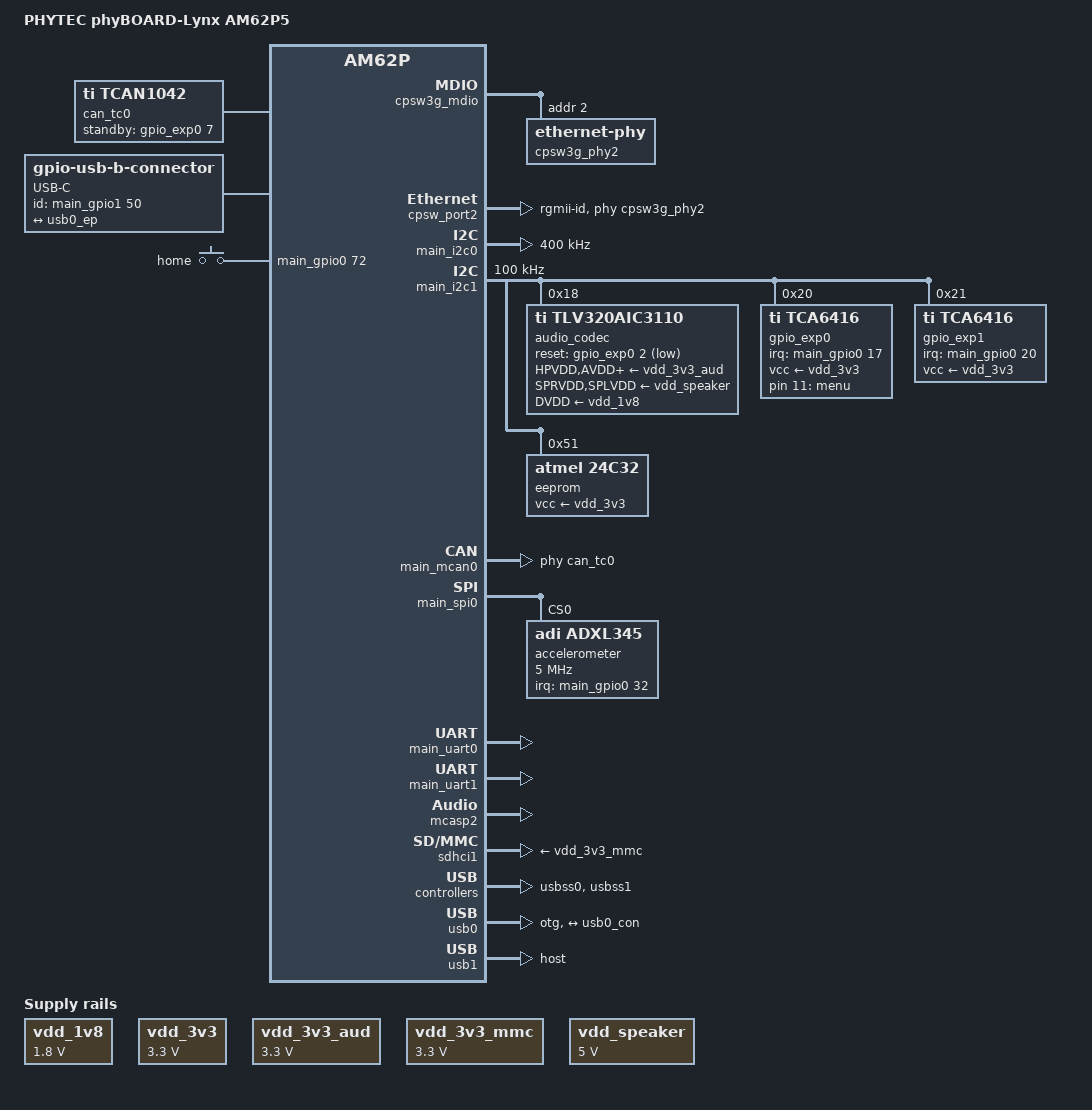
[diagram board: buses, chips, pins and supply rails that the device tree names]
// SPDX-License-Identifier: GPL-2.0-only OR MIT
/*
 * Copyright (C) 2026 PHYTEC America LLC
 * Author: John Ma <jma@phytec.com>
 *
 */

#include <dt-bindings/gpio/gpio.h>
#include <dt-bindings/input/input.h>
#include <dt-bindings/net/ti-dp83867.h>
#include "k3-am62p5.dtsi"
#include "k3-am62p-phycore-som.dtsi"

/ {
	compatible = "phytec,am62p5-phyboard-lynx",
		     "phytec,am62p-phycore-som", "ti,am62p5";
	model = "PHYTEC phyBOARD-Lynx AM62P5";

	aliases {
		ethernet1 = &cpsw_port2;
		mmc1 = &sdhci1;
		serial2 = &main_uart0;
		serial3 = &main_uart1;
		spi1 = &main_spi0;
		usb0 = &usb0;
		usb1 = &usb1;
	};

	chosen {
		stdout-path = &main_uart0;
	};

	can_tc0: can-phy0 {
		compatible = "ti,tcan1042";
		#phy-cells = <0>;
		max-bitrate = <8000000>;
		standby-gpios = <&gpio_exp0 7 GPIO_ACTIVE_HIGH>;
	};

	usb0_connector: connector {
		compatible = "gpio-usb-b-connector", "usb-b-connector";
		label = "USB-C";
		data-role = "dual";

		pinctrl-names = "default";
		pinctrl-0 = <&main_usbc_power_pins_default>;

		id-gpios = <&main_gpio1 50 GPIO_ACTIVE_HIGH>;

		port {
			usb0_con: endpoint {
				remote-endpoint = <&usb0_ep>;
			};
		};
	};

	keys {
		compatible = "gpio-keys";
		autorepeat;
		pinctrl-names = "default";
		pinctrl-0 = <&gpio_keys_pins_default>;

		key-home {
			label = "home";
			linux,code = <KEY_HOME>;
			gpios = <&main_gpio0 72 GPIO_ACTIVE_HIGH>;
		};

		key-menu {
			label = "menu";
			linux,code = <KEY_MENU>;
			gpios = <&gpio_exp0 11 GPIO_ACTIVE_HIGH>;
		};
	};

	sound {
		compatible = "simple-audio-card";
		simple-audio-card,name = "phyBOARD-Lynx";
		simple-audio-card,format = "dsp_b";
		simple-audio-card,bitclock-master = <&sound_master>;
		simple-audio-card,frame-master = <&sound_master>;
		simple-audio-card,bitclock-inversion;
		simple-audio-card,widgets =
			"Microphone", "Mic Jack",
			"Headphone", "Headphone Jack",
			"Line", "Stereo Jack",
			"Speaker", "L SPKR",
			"Speaker", "R SPKR";
		simple-audio-card,routing =
			"MIC1RP", "Mic Jack",
			"Mic Jack", "MICBIAS",
			"Headphone Jack", "HPL",
			"Headphone Jack", "HPR",
			"MIC1LM", "Stereo Jack",
			"MIC1LP", "Stereo Jack",
			"L SPKR", "SPL",
			"R SPKR", "SPR";
		simple-audio-card,cpu {
			sound-dai = <&mcasp2>;
		};

		sound_master: simple-audio-card,codec {
			sound-dai = <&audio_codec>;
			clocks = <&audio_refclk1>;
		};
	};

	vdd_1v8: regulator-vdd-1v8 {
		compatible = "regulator-fixed";
		regulator-name = "VDD_1V8";
		regulator-min-microvolt = <1800000>;
		regulator-max-microvolt = <1800000>;
		regulator-always-on;
		regulator-boot-on;
	};

	vdd_3v3: regulator-vdd-3v3 {
		compatible = "regulator-fixed";
		regulator-name = "VDD_3V3";
		regulator-min-microvolt = <3300000>;
		regulator-max-microvolt = <3300000>;
		regulator-always-on;
		regulator-boot-on;
	};

	vdd_3v3_aud: regulator-vdd-3v3-aud {
		compatible = "regulator-fixed";
		regulator-name = "VDD_3V3_AUD";
		regulator-min-microvolt = <3300000>;
		regulator-max-microvolt = <3300000>;
		regulator-always-on;
		regulator-boot-on;
	};

	vdd_3v3_mmc: regulator-vdd-3v3-mmc {
		compatible = "regulator-fixed";
		regulator-name = "VDD_3V3_MMC";
		regulator-min-microvolt = <3300000>;
		regulator-max-microvolt = <3300000>;
		regulator-always-on;
		regulator-boot-on;
	};

	vdd_speaker: regulator-vdd-speaker {
		compatible = "regulator-fixed";
		regulator-name = "VDD_SPEAKER";
		regulator-min-microvolt = <5000000>;
		regulator-max-microvolt = <5000000>;
		regulator-always-on;
		regulator-boot-on;
	};
};

&main_pmx0 {
	accel_irq_pins_default: accel-irq-default-pins {
		pinctrl-single,pins = <
			AM62PX_IOPAD(0x0084, PIN_INPUT, 7) /* (R25) GPMC0_ADVn_ALE.GPIO0_32 */
			AM62PX_IOPAD(0x0094, PIN_INPUT, 7) /* (T24) GPMC0_BE1n.GPIO0_36 */
		>;
	};

	audio_ext_refclk1_pins_default: audio-ext-refclk1-default-pins {
		pinctrl-single,pins = <
			AM62PX_IOPAD(0x00a0, PIN_OUTPUT, 1) /* (P24) GPMC0_WPn.AUDIO_EXT_REFCLK1 */
		>;
	};

	gpio_exp0_int_pins_default: gpio-exp0-int-default-pins {
		pinctrl-single,pins = <
			AM62PX_IOPAD(0x0044, PIN_INPUT, 7) /* (U20) GPMC0_AD2.GPIO0_17 */
		>;
	};

	gpio_exp1_int_pins_default: gpio-exp1-int-default-pins {
		pinctrl-single,pins = <
			AM62PX_IOPAD(0x0050, PIN_INPUT, 7) /* (T21) GPMC0_AD5.GPIO0_20 */
		>;
	};

	gpio_keys_pins_default: gpio-keys-default-pins {
		pinctrl-single,pins = <
			AM62PX_IOPAD(0x0128, PIN_INPUT, 7) /* (K25) MMC2_SDWP.GPIO0_72 */
		>;
	};

	main_i2c0_pins_default: main-i2c0-default-pins {
		pinctrl-single,pins = <
			AM62PX_IOPAD(0x01e0, PIN_INPUT_PULLUP, 0) /* (B25) I2C0_SCL */
			AM62PX_IOPAD(0x01e4, PIN_INPUT_PULLUP, 0) /* (A24) I2C0_SDA */
		>;
	};

	main_i2c1_pins_default: main-i2c1-default-pins {
		pinctrl-single,pins = <
			AM62PX_IOPAD(0x01e8, PIN_INPUT_PULLUP, 0) /* (C24) I2C1_SCL */
			AM62PX_IOPAD(0x01ec, PIN_INPUT_PULLUP, 0) /* (B24) I2C1_SDA */
		>;
		bootph-all;
	};

	main_mcan0_pins_default: main-mcan0-default-pins {
		pinctrl-single,pins = <
			AM62PX_IOPAD(0x01dc, PIN_INPUT, 0) /* (F20) MCAN0_RX */
			AM62PX_IOPAD(0x01d8, PIN_OUTPUT, 0) /* (B23) MCAN0_TX */
		>;
	};

	main_mcasp2_pins_default: main-mcasp2-default-pins {
		pinctrl-single,pins = <
			AM62PX_IOPAD(0x0070, PIN_INPUT, 3) /* (AD25) GPMC0_AD13.MCASP2_ACLKX */
			AM62PX_IOPAD(0x006c, PIN_INPUT, 3) /* (Y24) GPMC0_AD12.MCASP2_AFSX */
			AM62PX_IOPAD(0x0064, PIN_OUTPUT, 3) /* (AA25) GPMC0_AD10.MCASP2_AXR2 */
			AM62PX_IOPAD(0x0068, PIN_INPUT, 3) /* (W24) GPMC0_AD11.MCASP2_AXR3 */
		>;
	};

	main_mmc1_pins_default: main-mmc1-default-pins {
		pinctrl-single,pins = <
			AM62PX_IOPAD(0x023c, PIN_INPUT_PULLUP, 0) /* (H20) MMC1_CMD */
			AM62PX_IOPAD(0x0234, PIN_OUTPUT, 0) /* (J24) MMC1_CLK */
			AM62PX_IOPAD(0x0230, PIN_INPUT_PULLUP, 0) /* (H21) MMC1_DAT0 */
			AM62PX_IOPAD(0x022c, PIN_INPUT_PULLUP, 0) /* (H23) MMC1_DAT1 */
			AM62PX_IOPAD(0x0228, PIN_INPUT_PULLUP, 0) /* (H22) MMC1_DAT2 */
			AM62PX_IOPAD(0x0224, PIN_INPUT_PULLUP, 0) /* (H25) MMC1_DAT3 */
			AM62PX_IOPAD(0x0240, PIN_INPUT_PULLUP, 0) /* (D23) MMC1_SDCD */
		>;
		bootph-all;
	};

	main_rgmii2_pins_default: main-rgmii2-default-pins {
		pinctrl-single,pins = <
			AM62PX_IOPAD(0x0184, PIN_INPUT, 0) /* (E19) RGMII2_RD0 */
			AM62PX_IOPAD(0x0188, PIN_INPUT, 0) /* (E16) RGMII2_RD1 */
			AM62PX_IOPAD(0x018c, PIN_INPUT, 0) /* (E17) RGMII2_RD2 */
			AM62PX_IOPAD(0x0190, PIN_INPUT, 0) /* (C19) RGMII2_RD3 */
			AM62PX_IOPAD(0x0180, PIN_INPUT, 0) /* (D19) RGMII2_RXC */
			AM62PX_IOPAD(0x017c, PIN_INPUT, 0) /* (F19) RGMII2_RX_CTL */
			AM62PX_IOPAD(0x016c, PIN_INPUT, 0) /* (B19) RGMII2_TD0 */
			AM62PX_IOPAD(0x0170, PIN_INPUT, 0) /* (A21) RGMII2_TD1 */
			AM62PX_IOPAD(0x0174, PIN_INPUT, 0) /* (D17) RGMII2_TD2 */
			AM62PX_IOPAD(0x0178, PIN_INPUT, 0) /* (A19) RGMII2_TD3 */
			AM62PX_IOPAD(0x0168, PIN_INPUT, 0) /* (D16) RGMII2_TXC */
			AM62PX_IOPAD(0x0164, PIN_INPUT, 0) /* (A20) RGMII2_TX_CTL */
		>;
	};

	main_spi0_pins_default: main-spi0-default-pins {
		pinctrl-single,pins = <
			AM62PX_IOPAD(0x01bc, PIN_INPUT, 0) /* (B21) SPI0_CLK */
			AM62PX_IOPAD(0x01b4, PIN_OUTPUT, 0) /* (D20) SPI0_CS0 */
			AM62PX_IOPAD(0x01c0, PIN_OUTPUT, 0) /* (B20) SPI0_D0 */
			AM62PX_IOPAD(0x01c4, PIN_INPUT, 0) /* (C21) SPI0_D1 */
		>;
	};

	main_uart0_pins_default: main-uart0-default-pins {
		pinctrl-single,pins = <
			AM62PX_IOPAD(0x01d0, PIN_INPUT, 0) /* (A23) UART0_CTSn */
			AM62PX_IOPAD(0x01d4, PIN_OUTPUT, 0) /* (C22) UART0_RTSn */
			AM62PX_IOPAD(0x01c8, PIN_INPUT, 0) /* (A22) UART0_RXD */
			AM62PX_IOPAD(0x01cc, PIN_OUTPUT, 0) /* (B22) UART0_TXD */
		>;
		bootph-all;
	};

	main_uart1_pins_default: main-uart1-default-pins {
		pinctrl-single,pins = <
			AM62PX_IOPAD(0x01ac, PIN_INPUT, 2) /* (G23) MCASP0_AFSR.UART1_RXD */
			AM62PX_IOPAD(0x01b0, PIN_OUTPUT, 2) /* (G20) MCASP0_ACLKR.UART1_TXD */
		>;
		bootph-all;
	};

	main_usb1_pins_default: main-usb1-default-pins {
		pinctrl-single,pins = <
			AM62PX_IOPAD(0x0258, PIN_OUTPUT, 0) /* (G21) USB1_DRVVBUS */
		>;
	};

	main_usbc_power_pins_default: main-usbc-power-default-pins {
		pinctrl-single,pins = <
			AM62PX_IOPAD(0x0254, PIN_INPUT, 7) /* (G22) USB0_DRVVBUS.GPIO1_50 */
		>;
	};
};

&audio_refclk1 {
	assigned-clock-rates = <25000000>;
};

&cpsw3g {
	pinctrl-names = "default";
	pinctrl-0 = <&main_rgmii1_pins_default>, <&main_rgmii2_pins_default>;
};

&cpsw3g_mdio {
	cpsw3g_phy2: ethernet-phy@2 {
		reg = <2>;
		tx-fifo-depth = <DP83867_PHYCR_FIFO_DEPTH_4_B_NIB>;
		ti,min-output-impedance;
		ti,rx-internal-delay = <DP83867_RGMIIDCTL_2_00_NS>;
	};
};

&cpsw_port2 {
	phy-mode = "rgmii-id";
	phy-handle = <&cpsw3g_phy2>;
	status = "okay";
};

&main_i2c0 {
	pinctrl-names = "default";
	pinctrl-0 = <&main_i2c0_pins_default>;
	clock-frequency = <400000>;
	status = "okay";
};

&main_i2c1 {
	pinctrl-names = "default";
	pinctrl-0 = <&main_i2c1_pins_default>;
	clock-frequency = <100000>;
	status = "okay";

	audio_codec: audio-codec@18 {
		compatible = "ti,tlv320aic3110";
		reg = <0x18>;
		pinctrl-names = "default";
		pinctrl-0 = <&audio_ext_refclk1_pins_default>;
		reset-gpios = <&gpio_exp0 2 GPIO_ACTIVE_LOW>;
		#sound-dai-cells = <0>;
		ai31xx-micbias-vg = <2>;

		HPVDD-supply = <&vdd_3v3_aud>;
		SPRVDD-supply = <&vdd_speaker>;
		SPLVDD-supply = <&vdd_speaker>;
		AVDD-supply = <&vdd_3v3_aud>;
		IOVDD-supply = <&vdd_3v3_aud>;
		DVDD-supply = <&vdd_1v8>;
	};

	gpio_exp0: gpio@20 {
		pinctrl-names = "default";
		pinctrl-0 = <&gpio_exp0_int_pins_default>;
		compatible = "ti,tca6416";
		reg = <0x20>;
		vcc-supply = <&vdd_3v3>;
		interrupt-parent = <&main_gpio0>;
		interrupts = <17 IRQ_TYPE_EDGE_FALLING>;
		#gpio-cells = <2>;
		gpio-controller;
		interrupt-controller;
		#interrupt-cells = <2>;
		gpio-line-names = "HDMI_RESETn", "ETH1_RESETn",
				   "AUDIO_RESETn", "USB_HUB_EN",
				   "DSI0_TP_RST", "USB_HUB_GLOBAL_RSTz",
				   "LVDS_BKLT_EN", "CAN0_nEN",
				   "WL_HOST_WAKE", "BT_HOST_WAKE",
				   "USER_LED2", "USER_BUT2",
				   "UART1_nSHDN", "UART1_MODE_SEL",
				   "DE485_F232", "UART1_LB";

		bootph-all;

		p0-hog {
			/* P0 - HDMI_RESETn */
			gpio-hog;
			gpios = <0 GPIO_ACTIVE_HIGH>;
			output-high;
		};

		p1-hog {
			/* P1 - ETH1_RESETn */
			gpio-hog;
			gpios = <1 GPIO_ACTIVE_HIGH>;
			output-high;
		};

		p5-hog {
			/* P5 - USB_HUB_GLOBAL_RSTz */
			gpio-hog;
			gpios = <5 GPIO_ACTIVE_HIGH>;
			output-high;
		};
	};

	gpio_exp1: gpio@21 {
		pinctrl-names = "default";
		pinctrl-0 = <&gpio_exp1_int_pins_default>;
		compatible = "ti,tca6416";
		reg = <0x21>;
		vcc-supply = <&vdd_3v3>;
		interrupt-parent = <&main_gpio0>;
		interrupts = <20 IRQ_TYPE_EDGE_FALLING>;
		#gpio-cells = <2>;
		gpio-controller;
		interrupt-controller;
		#interrupt-cells = <2>;
		gpio-line-names = "CSI0_OE", "CSI0_SHUTTER",
				   "CSI0_TRIGGER", "CSI0_STROBE",
				   "DSI_LED_COMM", "MCU_LIGHT_INTn",
				   "MCU_TEMP_INTn", "M2_BT_DEV_WAKE",
				   "AUDIO_GPIO", "nFAN_OUT",
				   "", "",
				   "", "",
				   "", "";

		bootph-all;
	};

	eeprom@51 {
		compatible = "atmel,24c32";
		reg = <0x51>;
		pagesize = <32>;
		vcc-supply = <&vdd_3v3>;
	};
};

&main_mcan0 {
	pinctrl-names = "default";
	pinctrl-0 = <&main_mcan0_pins_default>;
	phys = <&can_tc0>;
	status = "okay";
};

&main_spi0 {
	#address-cells = <1>;
	#size-cells = <0>;

	pinctrl-names = "default";
	pinctrl-0 = <&main_spi0_pins_default>;
	ti,pindir-d0-out-d1-in;
	status = "okay";

	accelerometer@0 {
		compatible = "adi,adxl345";
		reg = <0>;
		pinctrl-names = "default";
		pinctrl-0 = <&accel_irq_pins_default>;
		spi-cpha;
		spi-cpol;
		spi-max-frequency = <5000000>;
		interrupt-parent = <&main_gpio0>;
		interrupts = <32 IRQ_TYPE_LEVEL_HIGH>;
		interrupt-names = "INT1";
	};
};

&main_uart0 {
	pinctrl-names = "default";
	pinctrl-0 = <&main_uart0_pins_default>;
	bootph-all;
	status = "okay";
};

&main_uart1 {
	pinctrl-names = "default";
	pinctrl-0 = <&main_uart1_pins_default>;
	bootph-all;
	status = "okay";
};

&mcasp2 {
	#sound-dai-cells = <0>;
	pinctrl-names = "default";
	pinctrl-0 = <&main_mcasp2_pins_default>;

	op-mode = <0>;          /* MCASP_IIS_MODE */
	tdm-slots = <2>;

	serial-dir = <  /* 0: INACTIVE, 1: TX, 2: RX */
	       0 0 1 2
	       0 0 0 0
	       0 0 0 0
	       0 0 0 0
	>;
	status = "okay";
};

&sdhci1 {
	vmmc-supply = <&vdd_3v3_mmc>;
	vqmmc-supply = <&vddshv5_sdio>;
	pinctrl-names = "default";
	pinctrl-0 = <&main_mmc1_pins_default>;
	disable-wp;
	no-1-8-v;
	bootph-all;
	status = "okay";
};

&usbss0 {
	ti,vbus-divider;
	bootph-pre-ram;
	status = "okay";
};

&usb0 {
	dr_mode = "otg";
	usb-role-switch;
	maximum-speed = "high-speed";

	port {
		usb0_ep: endpoint {
			remote-endpoint = <&usb0_con>;
		};
	};
};

/* Required for USB DFU Boot */
&usb0_phy_ctrl {
	bootph-pre-ram;
};

&usbss1 {
	ti,vbus-divider;
	status = "okay";
};

&usb1 {
	dr_mode = "host";
	pinctrl-names = "default";
	pinctrl-0 = <&main_usb1_pins_default>;
};
